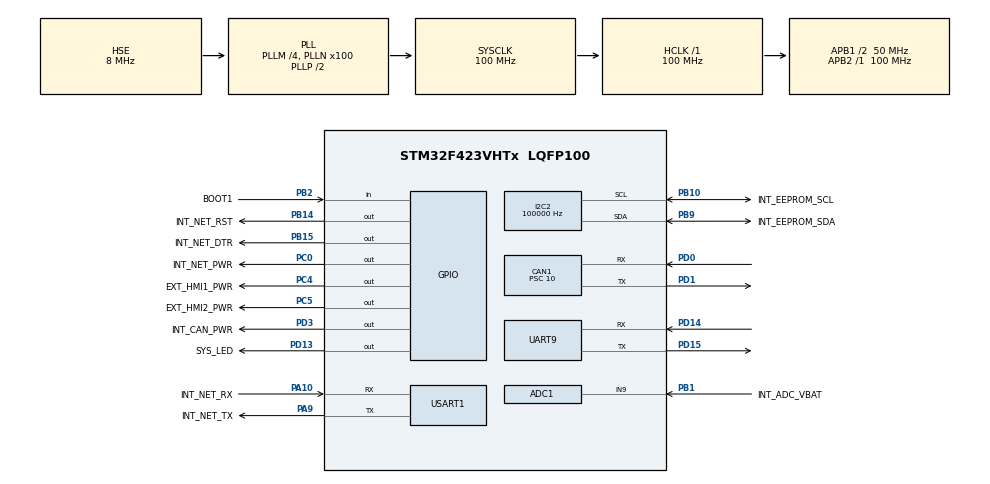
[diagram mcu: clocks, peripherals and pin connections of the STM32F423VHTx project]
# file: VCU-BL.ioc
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Mcu.Family=STM32F4
CAN1.NART=DISABLE
RCC.CortexFreq_Value=100000000
PB10.GPIO_Speed=GPIO_SPEED_FREQ_VERY_HIGH
Dma.UART9_RX.1.MemInc=DMA_MINC_ENABLE
PB10.Mode=I2C
NVIC.UART9_IRQn=true\:0\:0\:false\:false\:true\:true\:true
PB14.GPIO_Label=INT_NET_RST
VP_IWDG_VS_IWDG.Mode=IWDG_Activate
PA14.GPIO_Label=SYS_SWCLK
PC0.GPIO_Label=INT_NET_PWR
PB15.Signal=GPIO_Output
Dma.UART9_RX.1.Direction=DMA_PERIPH_TO_MEMORY
RCC.SYSCLKSource=RCC_SYSCLKSOURCE_PLLCLK
ProjectManager.StackSize=0x400
PD13.Signal=GPIO_Output
Dma.UART9_RX.1.Priority=DMA_PRIORITY_HIGH
PH0\ -\ OSC_IN.Signal=RCC_OSC_IN
RCC.HCLKFreq_Value=100000000
RCC.APB2TimFreq_Value=100000000
PD0.Signal=CAN1_RX
RCC.AHBFreq_Value=100000000
Dma.USART1_RX.0.Priority=DMA_PRIORITY_HIGH
ADC1.Channel-0\#ChannelRegularConversion=ADC_CHANNEL_9
RCC.HSE_VALUE=8000000
PB2.Signal=GPIO_Input
PB3.Mode=Trace_Asynchronous_SW
PC4.GPIO_Label=EXT_HMI1_PWR
PA14.Mode=Trace_Asynchronous_SW
PD14.Mode=Asynchronous
PB1.GPIO_Label=INT_ADC_VBAT
PA10.GPIO_Label=INT_NET_RX
Dma.USART1_RX.0.MemInc=DMA_MINC_ENABLE
PB2.GPIO_PuPd=GPIO_PULLDOWN
ADC1.SamplingTime-0\#ChannelRegularConversion=ADC_SAMPLETIME_3CYCLES
Dma.UART9_RX.1.PeriphInc=DMA_PINC_DISABLE
PD15.Mode=Asynchronous
PD13.GPIO_Label=SYS_LED
CAN1.Prescaler=10
PB9.Signal=I2C2_SDA
Mcu.Package=LQFP100
PB14.GPIO_PuPd=GPIO_PULLDOWN
PB1.Signal=ADCx_IN9
NVIC.DMA2_Stream7_IRQn=true\:0\:0\:false\:false\:true\:false\:true
PB15.GPIO_PuPd=GPIO_PULLDOWN
PA10.Signal=USART1_RX
SH.ADCx_IN9.0=ADC1_IN9,IN9
Dma.USART1_RX.0.FIFOMode=DMA_FIFOMODE_DISABLE
PB9.GPIO_Speed=GPIO_SPEED_FREQ_VERY_HIGH
Dma.UART9_RX.1.MemDataAlignment=DMA_MDATAALIGN_BYTE
NVIC.DMA2_Stream2_IRQn=true\:0\:0\:false\:false\:true\:false\:true
Dma.Request1=UART9_RX
RCC.APB1TimFreq_Value=100000000
Dma.USART1_RX.0.Mode=DMA_CIRCULAR
PC5.Signal=GPIO_Output
PD3.GPIO_Label=INT_CAN_PWR
PD3.GPIO_PuPd=GPIO_PULLDOWN
PC0.GPIO_PuPd=GPIO_PULLDOWN
NVIC.USART1_IRQn=true\:0\:0\:false\:false\:true\:true\:true
Dma.Request0=USART1_RX
CAN1.CalculateTimeBit=2000.00
PD15.Signal=UART9_TX
Dma.USART1_RX.0.Instance=DMA2_Stream2
CAN1.CalculateTimeQuantum=200.0
PB3.GPIO_Label=SYS_SWO
RCC.PLLSourceVirtual=RCC_PLLSOURCE_HSE
UART9.VirtualMode=Asynchronous
ADC1.Rank-0\#ChannelRegularConversion=1
Dma.USART1_RX.0.PeriphDataAlignment=DMA_PDATAALIGN_BYTE
PB9.GPIO_Label=INT_EEPROM_SDA
PA10.Mode=Asynchronous
PC4.GPIO_PuPd=GPIO_NOPULL
PA9.GPIO_Label=INT_NET_TX
PD3.Signal=GPIO_Output
PB10.GPIO_PuPdOD=GPIO_PULLUP
CAN1.CalculateBaudRate=500000
PH1\ -\ OSC_OUT.Mode=HSE-External-Oscillator
PC4.Signal=GPIO_Output
PD1.Signal=CAN1_TX
PC0.Signal=GPIO_Output
RCC.APB1CLKDivider=RCC_HCLK_DIV2
PC5.GPIO_PuPd=GPIO_NOPULL
PA13.Signal=SYS_JTMS-SWDIO
PA9.Mode=Asynchronous
PH0\ -\ OSC_IN.Mode=HSE-External-Oscillator
CAN1.BS1=CAN_BS1_8TQ
ProjectManager.TargetToolchain=STM32CubeIDE
PB10.GPIO_Label=INT_EEPROM_SCL
Dma.UART9_RX.1.Mode=DMA_CIRCULAR
I2C2.Analog_Filter=I2C_ANALOGFILTER_DISABLE
Dma.USART1_RX.0.Direction=DMA_PERIPH_TO_MEMORY
PB9.Mode=I2C
PA9.Signal=USART1_TX
RCC.USBFreq_Value=100000000
Dma.USART1_RX.0.PeriphInc=DMA_PINC_DISABLE
CAN1.ABOM=ENABLE
PB10.Signal=I2C2_SCL
PB14.Signal=GPIO_Output
PH1\ -\ OSC_OUT.Signal=RCC_OSC_OUT
board=custom
RCC.VCOOutputFreq_Value=200000000
PD1.Mode=CAN_Activate
RCC.APB2Freq_Value=100000000
PB15.GPIO_Label=INT_NET_DTR
CAN1.Mode=CAN_MODE_NORMAL
I2C2.ClockSpeed=100000
Dma.USART1_RX.0.MemDataAlignment=DMA_MDATAALIGN_BYTE
PD13.GPIO_PuPd=GPIO_PULLDOWN
PA13.Mode=Trace_Asynchronous_SW
Mcu.Name=STM32F423VHTx
PD0.Mode=CAN_Activate
Dma.UART9_RX.1.PeriphDataAlignment=DMA_PDATAALIGN_BYTE
PA13.GPIO_Label=SYS_SWDIO
PD14.Signal=UART9_RX
PH1\ -\ OSC_OUT.GPIO_Label=SYS_OSC_OUT
PB3.Signal=SYS_JTDO-SWO
RCC.SYSCLKFreq_VALUE=100000000
ADC1.master=1
PC5.PinState=GPIO_PIN_RESET
PC5.GPIO_Label=EXT_HMI2_PWR
USART1.VirtualMode=VM_ASYNC
PA14.Signal=SYS_JTCK-SWCLK
Dma.UART9_RX.1.Instance=DMA2_Stream7
PB2.GPIO_Label=BOOT1
ProjectManager.HeapSize=0x200
PB9.GPIO_PuPdOD=GPIO_PULLUP
NVIC.PriorityGroup=NVIC_PRIORITYGROUP_4
ADC1.NbrOfConversionFlag=1
RCC.PLLM=4
RCC.PLLN=100
IWDG.Prescaler=IWDG_PRESCALER_256
PH0\ -\ OSC_IN.GPIO_Label=SYS_OSC_IN
RCC.APB1Freq_Value=50000000
VP_CRC_VS_CRC.Mode=CRC_Activate
ADC1.ClockPrescaler=ADC_CLOCK_SYNC_PCLK_DIV8
Dma.UART9_RX.1.FIFOMode=DMA_FIFOMODE_DISABLE

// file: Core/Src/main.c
/* USER CODE BEGIN Header */
/**
 ******************************************************************************
 * @file           : main.c
 * @brief          : Main program body
 ******************************************************************************
 * @attention
 *
 * <h2><center>&copy; Copyright (c) 2020 STMicroelectronics.
 * All rights reserved.</center></h2>
 *
 * This software component is licensed by ST under BSD 3-Clause license,
 * the "License"; You may not use this file except in compliance with the
 * License. You may obtain a copy of the License at:
 *                        opensource.org/licenses/BSD-3-Clause
 *
 ******************************************************************************
 */
/* USER CODE END Header */
#include "main.h"

#include "adc.h"
#include "can.h"
#include "crc.h"
#include "dma.h"
#include "gpio.h"
#include "i2c.h"
#include "iwdg.h"
#include "usart.h"

/* USER CODE BEGIN Includes */
#include "App/fota.h"
#include "App/util.h"
#include "DMA/dma_simcom.h"
#include "Drivers/battery.h"
#include "Drivers/can.h"
#include "Drivers/flasher.h"
#include "Drivers/simcom.h"
#include "Libs/eeprom.h"
#include "Libs/errata.h"

/* USER CODE END Includes */

void SystemClock_Config(void);

int main(void) {

  /* MCU Configuration--------------------------------------------------------*/

  /* Reset of all peripherals, Initializes the Flash interface and the Systick.
   */
  HAL_Init();

  /* Configure the system clock */
  SystemClock_Config();

  /* USER CODE BEGIN SysInit */
  ERRATA_I2C_ClearBusyFlag();
  printf_init();
  /* USER CODE END SysInit */

  /* Initialize all configured peripherals */
  MX_GPIO_Init();
  MX_DMA_Init();
  MX_CRC_Init();
  MX_CAN1_Init();
  MX_I2C2_Init();
  MX_USART1_UART_Init();
  MX_IWDG_Init();
  MX_UART9_Init();
  MX_ADC1_Init();
  /* USER CODE BEGIN 2 */
  GATE_LedWrite(1);
  HAL_Delay(250);
  GATE_LedWrite(0);
  HAL_Delay(500);

  BAT_Init();
  EE_Init();
  CAN_Init();
  SIM_Init();
  /* USER CODE END 2 */

  /* Infinite loop */

  /* USER CODE BEGIN 3 */
  HAL_IWDG_Refresh(&hiwdg);
  /* IAP flag has been set, initiate firmware download procedure */
  if (*(uint32_t *)IAP_FLAG_ADDR == IFLAG_SRAM) {
    printf("IAP set, do FOTA.\n");
    /* Everything went well */
    if (FOTA_Upgrade(IAP_IO_Type())) {
      /* Reset IAP flag */
      *(uint32_t *)IAP_FLAG_ADDR = IFLAG_RESET;
      /* Take branching decision on next reboot */
      FOTA_Reboot();
    }
    /* Reset IAP flag */
    *(uint32_t *)IAP_FLAG_ADDR = IFLAG_RESET;
    /* FOTA failed */
    HAL_NVIC_SystemReset();
  }
  /* Jump to application if it exist and FOTA finished */
  else if (FOTA_ValidImage(APP_START_ADDR) && !IAP_InProgress()) {
    printf("Jump to application.\n");
    /* Jump sequence */
    FOTA_JumpToApp();
  }
  /* Power reset during FOTA, try once more */
  else if (IAP_InProgress()) {
    if (IAP_IO_Type() == ITYPE_VCU) {
      printf("FOTA set, do FOTA once more.\n");
      /* Everything went well, boot form new image */
      if (FOTA_Upgrade(ITYPE_VCU)) {
        /* Take branching decision on next reboot */
        FOTA_Reboot();
      }
      /* Erase partially programmed application area */
      FLASH_EraseAppArea();
    }
    /* Reset FOTA flag */
    IAP_ResetFlag();
    HAL_NVIC_SystemReset();
  }
  /* Try to restore the backup */
  else {
    /* Check is the backup image valid */
    if (FOTA_ValidImage(BKP_START_ADDR)) {
      printf("Has backed-up image, roll-back.\n");
      /* Restore back old image to application area */
      if (FLASH_RestoreApp()) {
        /* Take branching decision on next reboot */
        FOTA_Reboot();
      }
    } else {
      printf("No image at all, do FOTA.\n");
      /* Download new firmware for the first time */
      if (FOTA_Upgrade(ITYPE_VCU)) {
        /* Take branching decision on next reboot */
        FOTA_Reboot();
      }
    }
    HAL_NVIC_SystemReset();
    /* Meaningless, failure indicator */
    logError("Boot-loader failure!!");
  }
  /* USER CODE END 3 */
}

void SystemClock_Config(void) {
  RCC_OscInitTypeDef RCC_OscInitStruct = {0};
  RCC_ClkInitTypeDef RCC_ClkInitStruct = {0};

  /** Configure the main internal regulator output voltage
   */
  __HAL_RCC_PWR_CLK_ENABLE();
  __HAL_PWR_VOLTAGESCALING_CONFIG(PWR_REGULATOR_VOLTAGE_SCALE1);
  /** Initializes the RCC Oscillators according to the specified parameters
   * in the RCC_OscInitTypeDef structure.
   */
  RCC_OscInitStruct.OscillatorType =
      RCC_OSCILLATORTYPE_LSI | RCC_OSCILLATORTYPE_HSE;
  RCC_OscInitStruct.HSEState = RCC_HSE_ON;
  RCC_OscInitStruct.LSIState = RCC_LSI_ON;
  RCC_OscInitStruct.PLL.PLLState = RCC_PLL_ON;
  RCC_OscInitStruct.PLL.PLLSource = RCC_PLLSOURCE_HSE;
  RCC_OscInitStruct.PLL.PLLM = 4;
  RCC_OscInitStruct.PLL.PLLN = 100;
  RCC_OscInitStruct.PLL.PLLP = RCC_PLLP_DIV2;
  RCC_OscInitStruct.PLL.PLLQ = 2;
  RCC_OscInitStruct.PLL.PLLR = 2;
  if (HAL_RCC_OscConfig(&RCC_OscInitStruct) != HAL_OK) {
    Error_Handler();
  }
  /** Initializes the CPU, AHB and APB buses clocks
   */
  RCC_ClkInitStruct.ClockType = RCC_CLOCKTYPE_HCLK | RCC_CLOCKTYPE_SYSCLK |
                                RCC_CLOCKTYPE_PCLK1 | RCC_CLOCKTYPE_PCLK2;
  RCC_ClkInitStruct.SYSCLKSource = RCC_SYSCLKSOURCE_PLLCLK;
  RCC_ClkInitStruct.AHBCLKDivider = RCC_SYSCLK_DIV1;
  RCC_ClkInitStruct.APB1CLKDivider = RCC_HCLK_DIV2;
  RCC_ClkInitStruct.APB2CLKDivider = RCC_HCLK_DIV1;

  if (HAL_RCC_ClockConfig(&RCC_ClkInitStruct, FLASH_LATENCY_3) != HAL_OK) {
    Error_Handler();
  }
}

void Error_Handler(void) {
  /* USER CODE BEGIN Error_Handler_Debug */
  /* User can add his own implementation to report the HAL error return state */
  //  logError("Error Handler");
  /* USER CODE END Error_Handler_Debug */
}

#ifdef USE_FULL_ASSERT
/**
 * @brief  Reports the name of the source file and the source line number
 *         where the assert_param error has occurred.
 * @param  file: pointer to the source file name
 * @param  line: assert_param error line source number
 * @retval None
 */
void assert_failed(uint8_t *file, uint32_t line) {
  /* USER CODE BEGIN 6 */
  /* User can add his own implementation to report the file name and line
     number,
     tex: printf("Wrong parameters value: file %s on line %d\r\n", file, line)
   */
  printf("Wrong parameters value: file %s on line %d\r\n", file, line) * /
  /* USER CODE END 6 */
}
#endif /* USE_FULL_ASSERT */

/************************ (C) COPYRIGHT STMicroelectronics *****END OF FILE****/
